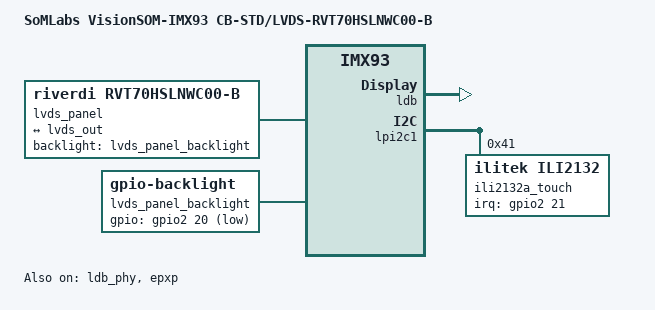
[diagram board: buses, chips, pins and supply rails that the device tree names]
// SPDX-License-Identifier: GPL-2.0-or-later
/*
 * Copyright 2020 SomLabs
 *
 */

#include "visionsom-imx93-cb-std.dtsi"

/ {
	model = "SoMLabs VisionSOM-IMX93 CB-STD/LVDS-RVT70HSLNWC00-B";

	lvds_panel {
		compatible = "riverdi,rvt70hslnwc00-b";
		backlight = <&lvds_panel_backlight>;

		port {
			panel_lvds_in: endpoint {
				remote-endpoint = <&lvds_out>;
			};
		};
	};

	lvds_panel_backlight: lvds-panel-backlight {
		compatible = "gpio-backlight";
		pinctrl-names = "default";
		pinctrl-0 = <&pinctrl_panel_backlight_en>;
		gpios = <&gpio2 20 GPIO_ACTIVE_LOW>;
	};
};

&ldb {
	status = "okay";

	lvds-channel@0 {
		fsl,data-mapping = "spwg";
		fsl,data-width = <24>;
		status = "okay";

		port@1 {
			reg = <1>;

			lvds_out: endpoint {
				remote-endpoint = <&panel_lvds_in>;
			};
		};
	};
};

&ldb_phy {
	status = "okay";
};

&lpi2c1 {
	ili2132a_touch: ili2132a@41 {
		compatible = "ilitek,ili2132";
		reg = <0x41>;
		pinctrl-names = "default";
		pinctrl-0 = <&pinctrl_touch>;
		interrupt-parent = <&gpio2>;
		interrupts = <21 IRQ_TYPE_EDGE_FALLING>;
		status = "okay";
	};
};

&epxp {
	status = "okay";
};

&iomuxc {
	pinctrl_panel_backlight_en: panel_backlight_en {
		fsl,pins = <
			MX93_PAD_GPIO_IO20__GPIO2_IO20                  0x31e
		>;
	};

	pinctrl_touch: touchgpio {
		fsl,pins = <
			MX93_PAD_GPIO_IO21__GPIO2_IO21                  0x31e
		>;
	};
};
